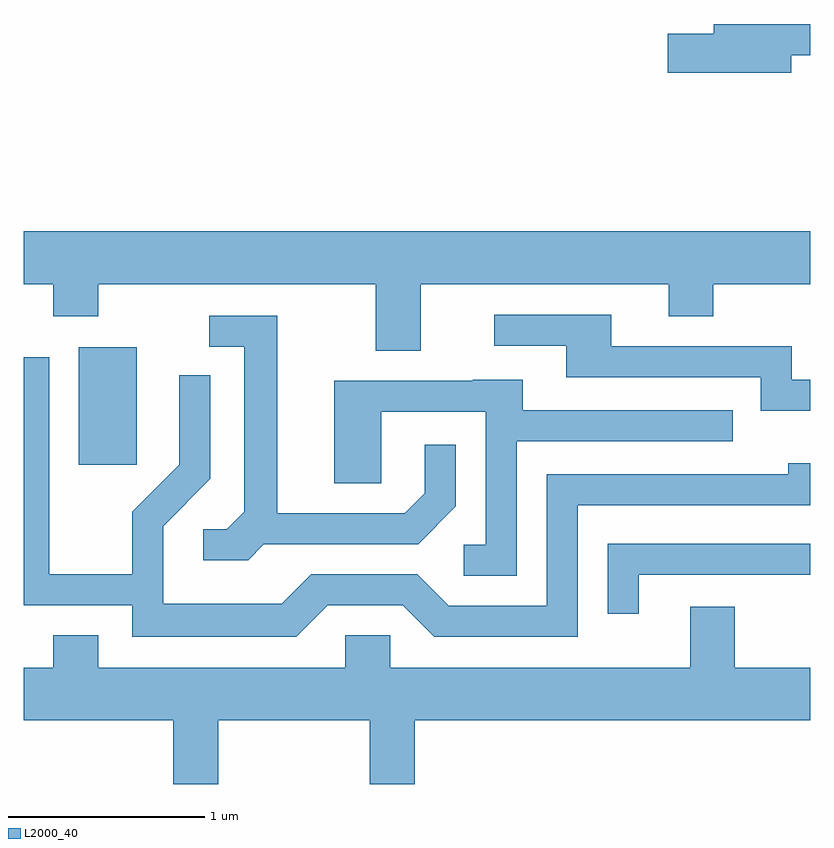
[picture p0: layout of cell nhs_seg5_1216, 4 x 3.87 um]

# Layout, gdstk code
import gdstk
lib = gdstk.Library(unit=1e-6, precision=1e-09)
def R(c, l, rs):  # rectangles x0, y0, x1, y1
    for r in rs: c.add(gdstk.rectangle(r[:2], r[2:], *l))
def P(c, l, *ps):  # polygons
    for p in ps: c.add(gdstk.Polygon(p, *l))
L2000_40 = (2000, 40)

nhs_seg5_1216 = lib.new_cell('nhs_seg5_1216')
R(nhs_seg5_1216, L2000_40, [(221.891,1413.696,222.184,1414.294)])
P(nhs_seg5_1216, L2000_40, [(225.514,1415.781),(225.611,1415.781),(225.611,1415.939),(225.121,1415.939),(225.121,1415.889),(224.886,1415.889),(224.886,1415.691),(225.514,1415.691)],
  [(223.629,1414.616),(224.891,1414.616),(224.891,1414.451),(225.119,1414.451),(225.119,1414.616),(225.611,1414.616),(225.611,1414.884),(221.611,1414.884),(221.611,1414.616),(221.761,1414.616),(221.761,1414.451),(221.989,1414.451),(221.989,1414.616),(223.401,1414.616),(223.401,1414.276),(223.629,1414.276)],
  [(225.611,1414.129),(225.519,1414.129),(225.519,1414.299),(224.599,1414.299),(224.599,1414.459),(224.003,1414.459),(224.003,1414.301),(224.371,1414.301),(224.371,1414.141),(225.361,1414.141),(225.361,1413.971),(225.611,1413.971)],
  [(222.832,1413.291),(223.617,1413.291),(223.809,1413.484),(223.809,1413.798),(223.651,1413.798),(223.651,1413.552),(223.549,1413.449),(222.899,1413.449),(222.899,1414.454),(222.553,1414.454),(222.553,1414.296),(222.731,1414.296),(222.731,1413.457),(222.644,1413.369),(222.523,1413.369),(222.523,1413.211),(222.752,1413.211)],
  [(223.157,1412.981),(223.539,1412.981),(223.699,1412.821),(224.429,1412.821),(224.429,1413.491),(225.611,1413.491),(225.611,1413.704),(225.501,1413.704),(225.501,1413.649),(224.271,1413.649),(224.271,1412.979),(223.772,1412.979),(223.612,1413.139),(223.074,1413.139),(222.924,1412.989),(222.319,1412.989),(222.319,1413.384),(222.559,1413.624),(222.559,1414.153),(222.401,1414.153),(222.401,1413.697),(222.161,1413.457),(222.161,1413.139),(221.739,1413.139),(221.739,1414.244),(221.611,1414.244),(221.611,1412.981),(222.161,1412.981),(222.161,1412.821),(222.997,1412.821)],
  [(224.119,1413.816),(225.218,1413.816),(225.218,1413.974),(224.149,1413.974),(224.149,1414.129),(223.895,1414.129),(223.895,1414.124),(223.191,1414.124),(223.191,1413.601),(223.429,1413.601),(223.429,1413.966),(223.961,1413.966),(223.961,1413.289),(223.848,1413.289),(223.848,1413.131),(224.119,1413.131)],
  [(224.739,1413.136),(225.611,1413.136),(225.611,1413.294),(224.581,1413.294),(224.581,1412.938),(224.739,1412.938)],
  [(222.599,1412.396),(223.371,1412.396),(223.371,1412.072),(223.599,1412.072),(223.599,1412.396),(225.611,1412.396),(225.611,1412.664),(225.229,1412.664),(225.229,1412.974),(225.001,1412.974),(225.001,1412.664),(223.474,1412.664),(223.474,1412.829),(223.246,1412.829),(223.246,1412.664),(221.989,1412.664),(221.989,1412.829),(221.761,1412.829),(221.761,1412.664),(221.611,1412.664),(221.611,1412.396),(222.371,1412.396),(222.371,1412.072),(222.599,1412.072)])

lib.write_gds('nhs_seg5_1216.gds')
